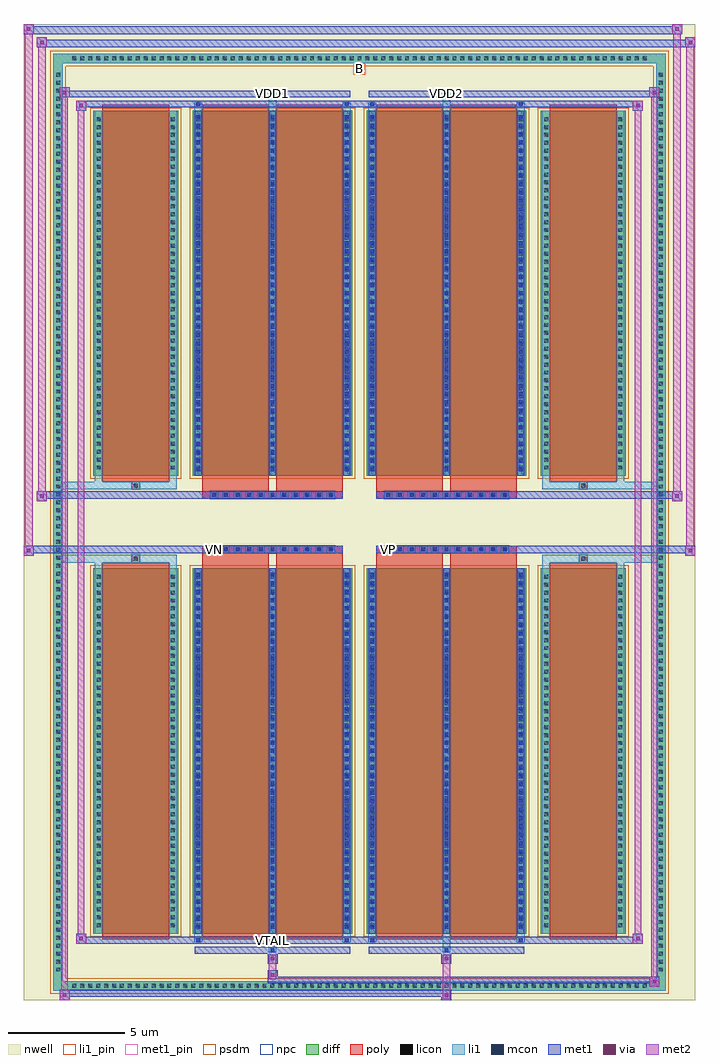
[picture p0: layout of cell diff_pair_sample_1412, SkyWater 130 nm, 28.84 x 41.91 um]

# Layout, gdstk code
import gdstk
lib = gdstk.Library(unit=1e-6, precision=5e-09)
def R(c, l, rs):  # rectangles x0, y0, x1, y1
    for r in rs: c.add(gdstk.rectangle(r[:2], r[2:], *l))
def A(c, l, x, y, w, h, nx, ny, dx, dy):  # array of equal rectangles
    R(c, l, [(x+i*dx, y+j*dy, x+i*dx+w, y+j*dy+h) for i in range(nx) for j in range(ny)])
def P(c, l, *ps):  # polygons
    for p in ps: c.add(gdstk.Polygon(p, *l))
nwell = (64, 20)
diff = (65, 20)
poly = (66, 20)
licon = (66, 44)
li1_pin = (67, 16)
li1 = (67, 20)
mcon = (67, 44)
met1_pin = (68, 16)
met1 = (68, 20)
via = (68, 44)
met2 = (69, 20)
psdm = (94, 20)
npc = (95, 20)

diff_pair_sample_1412 = lib.new_cell('diff_pair_sample_1412')
R(diff_pair_sample_1412, nwell, [(-14.42,-20.52,14.42,21.39), (-11.74,-18.71,-0.01,-0.805), (0.01,-18.71,11.74,-0.805), (-11.74,0.805,-0.01,18.71), (0.01,0.805,11.74,18.71)])
A(diff_pair_sample_1412, diff, -12.445, -20.12, 0.41, 0.41, 73, 2, 0.34, 39.83)
A(diff_pair_sample_1412, diff, -13.15, -19.415, 0.41, 0.41, 1, 114, 0, 0.34)
A(diff_pair_sample_1412, diff, 12.74, -19.415, 0.41, 0.41, 1, 114, 0, 0.34)
R(diff_pair_sample_1412, diff, [(-12.445,-20.12,12.445,-19.71), (-13.15,-19.415,-12.74,19.415), (12.74,-19.415,13.15,19.415), (-11.43,-17.665,-7.79,-1.985), (-7.15,-17.665,-0.32,-1.985), (0.32,-17.665,7.15,-1.985), (7.79,-17.665,11.43,-1.985), (-11.43,1.985,-7.79,17.665), (-7.15,1.985,-0.32,17.665), (0.32,1.985,7.15,17.665), (7.79,1.985,11.43,17.665), (-12.445,19.71,12.445,20.12)])
P(diff_pair_sample_1412, diff, [(13.15,20.12),(-13.15,20.12),(-13.15,-19.71),(-12.74,-19.71),(-12.74,19.71),(12.74,19.71),(12.74,-19.71),(-12.74,-19.71),(-13.15,-19.71),(-13.15,-20.12),(13.15,-20.12)])
A(diff_pair_sample_1412, poly, -6.4, -1.335, 0.33, 0.33, 11, 2, 0.5, 2.34)
A(diff_pair_sample_1412, poly, 1.07, -1.335, 0.33, 0.33, 11, 2, 0.5, 2.34)
R(diff_pair_sample_1412, poly, [(-11.04,-17.915,-8.18,-1.735), (-6.76,-17.915,-3.9,-1.735), (-3.57,-17.915,-0.71,-1.735), (0.71,-17.915,3.57,-1.735), (3.9,-17.915,6.76,-1.735), (8.18,-17.915,11.04,-1.735), (-9.775,-1.735,-9.445,-1.405), (-9.775,-1.735,-9.445,-1.405), (-6.76,-1.735,-3.9,-1.335), (-3.57,-1.735,-0.71,-1.335), (0.71,-1.735,3.57,-1.335), (3.9,-1.735,6.76,-1.335), (9.445,-1.735,9.775,-1.405), (9.445,-1.735,9.775,-1.405), (-6.76,-1.335,-0.71,-1.005), (0.71,-1.335,6.76,-1.005), (-6.76,1.005,-0.71,1.335), (0.71,1.005,6.76,1.335), (-6.76,1.335,-3.9,1.735), (-3.57,1.335,-0.71,1.735), (0.71,1.335,3.57,1.735), (3.9,1.335,6.76,1.735), (-9.775,1.405,-9.445,1.735), (-9.775,1.405,-9.445,1.735), (9.445,1.405,9.775,1.735), (9.445,1.405,9.775,1.735), (-11.04,1.735,-8.18,17.915), (-6.76,1.735,-3.9,17.915), (-3.57,1.735,-0.71,17.915), (0.71,1.735,3.57,17.915), (3.9,1.735,6.76,17.915), (8.18,1.735,11.04,17.915)])
A(diff_pair_sample_1412, licon, -12.325, -20, 0.17, 0.17, 73, 2, 0.34, 39.83)
A(diff_pair_sample_1412, licon, -13.03, -19.295, 0.17, 0.17, 1, 114, 0, 0.34)
A(diff_pair_sample_1412, licon, 12.86, -19.295, 0.17, 0.17, 1, 114, 0, 0.34)
A(diff_pair_sample_1412, licon, -11.29, -17.39, 0.17, 0.17, 1, 45, 0, 0.34)
A(diff_pair_sample_1412, licon, -8.1, -17.39, 0.17, 0.17, 1, 45, 0, 0.34)
A(diff_pair_sample_1412, licon, -7.01, -17.39, 0.17, 0.17, 3, 45, 3.19, 0.34)
A(diff_pair_sample_1412, licon, 0.46, -17.39, 0.17, 0.17, 3, 45, 3.19, 0.34)
A(diff_pair_sample_1412, licon, 7.93, -17.39, 0.17, 0.17, 1, 45, 0, 0.34)
A(diff_pair_sample_1412, licon, 11.12, -17.39, 0.17, 0.17, 1, 45, 0, 0.34)
A(diff_pair_sample_1412, licon, -6.32, -1.255, 0.17, 0.17, 11, 2, 0.5, 2.34)
A(diff_pair_sample_1412, licon, 1.15, -1.255, 0.17, 0.17, 11, 2, 0.5, 2.34)
A(diff_pair_sample_1412, licon, -11.29, 2.26, 0.17, 0.17, 1, 45, 0, 0.34)
A(diff_pair_sample_1412, licon, -8.1, 2.26, 0.17, 0.17, 1, 45, 0, 0.34)
A(diff_pair_sample_1412, licon, -7.01, 2.26, 0.17, 0.17, 3, 45, 3.19, 0.34)
A(diff_pair_sample_1412, licon, 0.46, 2.26, 0.17, 0.17, 3, 45, 3.19, 0.34)
A(diff_pair_sample_1412, licon, 7.93, 2.26, 0.17, 0.17, 1, 45, 0, 0.34)
A(diff_pair_sample_1412, licon, 11.12, 2.26, 0.17, 0.17, 1, 45, 0, 0.34)
R(diff_pair_sample_1412, licon, [(-9.695,-1.655,-9.525,-1.485), (9.525,-1.655,9.695,-1.485), (-9.695,1.485,-9.525,1.655), (9.525,1.485,9.695,1.655)])
R(diff_pair_sample_1412, li1_pin, [(-0.25,19.21,0.25,19.71)])
A(diff_pair_sample_1412, li1, -12.405, -20.08, 0.33, 0.33, 73, 2, 0.34, 39.83)
A(diff_pair_sample_1412, li1, -13.11, -19.375, 0.33, 0.33, 1, 114, 0, 0.34)
A(diff_pair_sample_1412, li1, 12.78, -19.375, 0.33, 0.33, 1, 114, 0, 0.34)
A(diff_pair_sample_1412, li1, -7.09, -17.665, 0.33, 15.68, 3, 2, 3.19, 19.65)
A(diff_pair_sample_1412, li1, 0.38, -17.665, 0.33, 15.68, 3, 2, 3.19, 19.65)
A(diff_pair_sample_1412, li1, -11.37, -17.47, 0.33, 0.33, 1, 45, 0, 0.34)
A(diff_pair_sample_1412, li1, -8.18, -17.47, 0.33, 0.33, 1, 45, 0, 0.34)
A(diff_pair_sample_1412, li1, -7.09, -17.47, 0.33, 0.33, 3, 45, 3.19, 0.34)
A(diff_pair_sample_1412, li1, -7.01, -17.47, 0.17, 0.17, 3, 43, 3.19, 0.36)
A(diff_pair_sample_1412, li1, -7.01, -17.47, 0.17, 15.29, 3, 2, 3.19, 19.65)
A(diff_pair_sample_1412, li1, 0.38, -17.47, 0.33, 0.33, 3, 45, 3.19, 0.34)
A(diff_pair_sample_1412, li1, 0.46, -17.47, 0.17, 0.17, 3, 43, 3.19, 0.36)
A(diff_pair_sample_1412, li1, 0.46, -17.47, 0.17, 15.29, 3, 2, 3.19, 19.65)
A(diff_pair_sample_1412, li1, 7.85, -17.47, 0.33, 0.33, 1, 45, 0, 0.34)
A(diff_pair_sample_1412, li1, 11.04, -17.47, 0.33, 0.33, 1, 45, 0, 0.34)
A(diff_pair_sample_1412, li1, -6.4, -1.335, 0.33, 0.33, 11, 2, 0.5, 2.34)
A(diff_pair_sample_1412, li1, 1.07, -1.335, 0.33, 0.33, 11, 2, 0.5, 2.34)
A(diff_pair_sample_1412, li1, -11.37, 2.18, 0.33, 0.33, 1, 45, 0, 0.34)
A(diff_pair_sample_1412, li1, -8.18, 2.18, 0.33, 0.33, 1, 45, 0, 0.34)
A(diff_pair_sample_1412, li1, -7.09, 2.18, 0.33, 0.33, 3, 45, 3.19, 0.34)
A(diff_pair_sample_1412, li1, -7.01, 2.18, 0.17, 0.17, 3, 43, 3.19, 0.36)
A(diff_pair_sample_1412, li1, 0.38, 2.18, 0.33, 0.33, 3, 45, 3.19, 0.34)
A(diff_pair_sample_1412, li1, 0.46, 2.18, 0.17, 0.17, 3, 43, 3.19, 0.36)
A(diff_pair_sample_1412, li1, 7.85, 2.18, 0.33, 0.33, 1, 45, 0, 0.34)
A(diff_pair_sample_1412, li1, 11.04, 2.18, 0.33, 0.33, 1, 45, 0, 0.34)
R(diff_pair_sample_1412, li1, [(-13.15,-20.12,-12.74,-19.71), (-13.15,-20.12,-12.74,-19.71), (-12.74,-20.12,12.74,-19.71), (12.74,-20.12,13.15,-19.71), (12.74,-20.12,13.15,-19.71), (-13.15,-19.71,-12.74,19.71), (12.74,-19.71,13.15,19.71), (-3.9,-18.47,-3.57,-17.665), (-3.82,-18.47,-3.65,-18.3), (3.57,-18.47,3.9,-17.665), (3.65,-18.47,3.82,-18.3), (-7.09,-18.04,-6.76,-17.665), (-7.01,-18.04,-6.84,-17.87), (-0.71,-18.04,-0.38,-17.665), (-0.63,-18.04,-0.46,-17.87), (0.38,-18.04,0.71,-17.665), (0.46,-18.04,0.63,-17.87), (6.76,-18.04,7.09,-17.665), (6.84,-18.04,7.01,-17.87), (-11.37,-17.665,-11.04,-1.985), (-8.18,-17.665,-7.85,-1.985), (7.85,-17.665,8.18,-1.985), (11.04,-17.665,11.37,-1.985), (-11.37,-1.985,-11.04,-1.405), (-8.18,-1.985,-7.85,-1.405), (7.85,-1.985,8.18,-1.405), (11.04,-1.985,11.37,-1.405), (-13.15,-1.735,-9.775,-1.405), (-11.37,-1.735,-9.775,-1.405), (-9.775,-1.735,-9.445,-1.405), (-9.445,-1.735,-7.85,-1.405), (7.85,-1.735,9.445,-1.405), (9.445,-1.735,9.775,-1.405), (9.445,-1.735,13.15,-1.405), (9.775,-1.735,11.37,-1.405), (-13.15,1.405,-9.775,1.735), (-11.37,1.405,-9.775,1.735), (-11.37,1.405,-11.04,1.985), (-9.775,1.405,-9.445,1.735), (-9.445,1.405,-7.85,1.735), (-8.18,1.405,-7.85,1.985), (7.85,1.405,9.445,1.735), (7.85,1.405,8.18,1.985), (9.445,1.405,9.775,1.735), (9.445,1.405,13.15,1.735), (9.775,1.405,11.37,1.735), (11.04,1.405,11.37,1.985), (-11.37,1.985,-11.04,17.665), (-8.18,1.985,-7.85,17.665), (7.85,1.985,8.18,17.665), (11.04,1.985,11.37,17.665), (-7.09,17.665,-6.76,18.04), (-3.9,17.665,-3.57,18.47), (-0.71,17.665,-0.38,18.04), (0.38,17.665,0.71,18.04), (3.57,17.665,3.9,18.47), (6.76,17.665,7.09,18.04), (-7.01,17.87,-6.84,18.04), (-0.63,17.87,-0.46,18.04), (0.46,17.87,0.63,18.04), (6.84,17.87,7.01,18.04), (-3.82,18.3,-3.65,18.47), (3.65,18.3,3.82,18.47), (-13.15,19.71,-12.74,20.12), (-13.15,19.71,-12.74,20.12), (-12.74,19.71,12.74,20.12), (12.74,19.71,13.15,20.12), (12.74,19.71,13.15,20.12)])
A(diff_pair_sample_1412, mcon, -7.01, -17.47, 0.17, 0.17, 3, 43, 3.19, 0.36)
A(diff_pair_sample_1412, mcon, 0.46, -17.47, 0.17, 0.17, 3, 43, 3.19, 0.36)
A(diff_pair_sample_1412, mcon, -6.32, -1.255, 0.17, 0.17, 11, 2, 0.5, 2.34)
A(diff_pair_sample_1412, mcon, 1.15, -1.255, 0.17, 0.17, 11, 2, 0.5, 2.34)
A(diff_pair_sample_1412, mcon, -7.01, 2.18, 0.17, 0.17, 3, 43, 3.19, 0.36)
A(diff_pair_sample_1412, mcon, 0.46, 2.18, 0.17, 0.17, 3, 43, 3.19, 0.36)
R(diff_pair_sample_1412, mcon, [(-3.82,-18.47,-3.65,-18.3), (3.65,-18.47,3.82,-18.3), (-7.01,-18.04,-6.84,-17.87), (-0.63,-18.04,-0.46,-17.87), (0.46,-18.04,0.63,-17.87), (6.84,-18.04,7.01,-17.87), (-7.01,17.87,-6.84,18.04), (-0.63,17.87,-0.46,18.04), (0.46,17.87,0.63,18.04), (6.84,17.87,7.01,18.04), (-3.82,18.3,-3.65,18.47), (3.65,18.3,3.82,18.47)])
R(diff_pair_sample_1412, met1_pin, [(-3.87,-18.08,-3.6,-17.81), (-6.37,-1.295,-6.1,-1.025), (1.1,-1.295,1.37,-1.025), (-3.87,18.26,-3.6,18.53), (3.6,18.26,3.87,18.53)])
A(diff_pair_sample_1412, met1, -7.07, -17.665, 0.29, 15.68, 3, 2, 3.19, 19.65)
A(diff_pair_sample_1412, met1, 0.4, -17.665, 0.29, 15.68, 3, 2, 3.19, 19.65)
A(diff_pair_sample_1412, met1, -7.07, -17.53, 0.29, 0.29, 3, 43, 3.19, 0.36)
A(diff_pair_sample_1412, met1, 0.4, -17.53, 0.29, 0.29, 3, 43, 3.19, 0.36)
A(diff_pair_sample_1412, met1, -6.38, -1.315, 0.29, 0.29, 11, 2, 0.5, 2.34)
A(diff_pair_sample_1412, met1, 1.09, -1.315, 0.29, 0.29, 11, 2, 0.5, 2.34)
A(diff_pair_sample_1412, met1, -7.07, 2.12, 0.29, 0.29, 3, 43, 3.19, 0.36)
A(diff_pair_sample_1412, met1, 0.4, 2.12, 0.29, 0.29, 3, 43, 3.19, 0.36)
R(diff_pair_sample_1412, met1, [(-12.88,-20.52,-12.45,-20.09), (3.52,-20.52,3.95,-20.09), (-12.88,-20.38,3.95,-20.09), (12.45,-19.95,12.88,-19.52), (-3.95,-19.81,12.88,-19.52), (-3.95,-19.67,-3.52,-19.24), (-3.95,-18.96,-3.52,-18.53), (3.52,-18.96,3.95,-18.53), (-7.07,-18.53,-0.4,-18.24), (-3.88,-18.53,-3.59,-18.24), (0.4,-18.53,7.07,-18.24), (3.59,-18.53,3.88,-18.24), (-12.17,-18.1,-11.74,-17.67), (-12.17,-18.1,-7.07,-17.81), (-7.07,-18.1,-6.78,-17.81), (-7.07,-18.1,-0.4,-17.81), (-0.69,-18.1,-0.4,-17.81), (-0.4,-18.1,0.4,-17.81), (0.4,-18.1,0.69,-17.81), (0.4,-18.1,7.07,-17.81), (6.78,-18.1,7.07,-17.81), (7.07,-18.1,12.17,-17.81), (11.74,-18.1,12.17,-17.67), (-14.42,-1.435,-13.99,-1.005), (13.99,-1.435,14.42,-1.005), (-14.42,-1.335,-0.71,-1.005), (-6.76,-1.335,-0.71,-1.005), (0.71,-1.335,6.76,-1.005), (0.71,-1.335,14.42,-1.005), (-13.85,0.905,-13.42,1.335), (13.42,0.905,13.85,1.335), (-13.85,1.005,-6.76,1.335), (-6.76,1.005,-0.71,1.335), (0.71,1.005,6.76,1.335), (6.76,1.005,13.85,1.335), (-12.17,17.67,-11.74,18.1), (11.74,17.67,12.17,18.1), (-12.17,17.81,-7.07,18.1), (-7.07,17.81,-6.78,18.1), (-7.07,17.81,-0.4,18.1), (-0.69,17.81,-0.4,18.1), (-0.4,17.81,0.4,18.1), (0.4,17.81,0.69,18.1), (0.4,17.81,7.07,18.1), (6.78,17.81,7.07,18.1), (7.07,17.81,12.17,18.1), (-12.88,18.24,-12.45,18.67), (-12.88,18.24,-7.07,18.53), (-7.07,18.24,-0.4,18.53), (-3.88,18.24,-3.59,18.53), (0.4,18.24,7.07,18.53), (3.59,18.24,3.88,18.53), (7.07,18.24,12.88,18.53), (12.45,18.24,12.88,18.67), (-13.85,20.39,-13.42,20.82), (-13.85,20.39,-11.74,20.72), (-11.74,20.39,11.74,20.72), (11.74,20.39,14.42,20.72), (13.99,20.39,14.42,20.82), (-14.42,20.96,-13.99,21.39), (-14.42,20.96,-11.74,21.29), (-11.74,20.96,11.74,21.29), (11.74,20.96,13.85,21.29), (13.42,20.96,13.85,21.39)])
R(diff_pair_sample_1412, via, [(-12.74,-20.38,-12.59,-20.23), (3.66,-20.38,3.81,-20.23), (12.59,-19.81,12.74,-19.66), (-3.81,-19.53,-3.66,-19.38), (-3.81,-18.82,-3.66,-18.67), (3.66,-18.82,3.81,-18.67), (-12.03,-17.96,-11.88,-17.81), (11.88,-17.96,12.03,-17.81), (-14.28,-1.295,-14.13,-1.145), (14.13,-1.295,14.28,-1.145), (-13.71,1.045,-13.56,1.195), (13.56,1.045,13.71,1.195), (-12.03,17.81,-11.88,17.96), (11.88,17.81,12.03,17.96), (-12.74,18.38,-12.59,18.53), (12.59,18.38,12.74,18.53), (-13.71,20.53,-13.56,20.68), (14.13,20.53,14.28,20.68), (-14.28,21.1,-14.13,21.25), (13.56,21.1,13.71,21.25)])
R(diff_pair_sample_1412, met2, [(-12.88,-20.52,-12.45,-20.09), (-12.81,-20.52,-12.52,18.67), (-12.52,-20.52,-12.45,-20.09), (-12.83,-20.47,-12.5,-20.14), (3.57,-20.47,3.9,-20.14), (3.57,-20.14,3.9,-18.91), (12.45,-19.95,12.88,-19.52), (12.52,-19.95,12.81,18.67), (12.81,-19.95,12.88,-19.52), (12.5,-19.9,12.83,-19.57), (-3.9,-19.62,-3.57,-19.29), (-3.9,-19.29,-3.57,-18.91), (-3.9,-18.91,-3.57,-18.58), (3.57,-18.91,3.9,-18.58), (-12.17,-18.1,-11.74,-17.67), (-12.1,-18.1,-11.81,18.1), (-11.81,-18.1,-11.74,-17.67), (11.74,-18.1,12.17,-17.67), (11.81,-18.1,12.1,18.1), (12.1,-18.1,12.17,-17.67), (-12.12,-18.05,-11.79,-17.72), (11.79,-18.05,12.12,-17.72), (-14.42,-1.435,-13.99,-1.005), (-14.37,-1.435,-14.04,21.39), (-14.04,-1.435,-13.99,-1.005), (13.99,-1.435,14.42,-1.005), (14.04,-1.435,14.37,20.82), (14.37,-1.435,14.42,-1.005), (-14.37,-1.385,-14.04,-1.055), (14.04,-1.385,14.37,-1.055), (-13.85,0.905,-13.42,1.335), (-13.8,0.905,-13.47,20.82), (-13.47,0.905,-13.42,1.335), (13.42,0.905,13.85,1.335), (13.47,0.905,13.8,21.39), (13.8,0.905,13.85,1.335), (-13.8,0.955,-13.47,1.285), (13.47,0.955,13.8,1.285), (-12.17,17.67,-11.74,18.1), (-11.81,17.67,-11.74,18.1), (11.74,17.67,12.17,18.1), (12.1,17.67,12.17,18.1), (-12.12,17.72,-11.79,18.05), (11.79,17.72,12.12,18.05), (-12.88,18.24,-12.45,18.67), (-12.52,18.24,-12.45,18.67), (12.45,18.24,12.88,18.67), (12.81,18.24,12.88,18.67), (-12.83,18.29,-12.5,18.62), (12.5,18.29,12.83,18.62), (-13.85,20.39,-13.42,20.82), (-13.47,20.39,-13.42,20.82), (13.99,20.39,14.42,20.82), (14.37,20.39,14.42,20.82), (-13.8,20.44,-13.47,20.77), (14.04,20.44,14.37,20.77), (-14.42,20.96,-13.99,21.39), (-14.04,20.96,-13.99,21.39), (13.42,20.96,13.85,21.39), (13.8,20.96,13.85,21.39), (-14.37,21.01,-14.04,21.34), (13.47,21.01,13.8,21.34)])
R(diff_pair_sample_1412, psdm, [(-11.56,-17.795,-7.66,-1.855), (-7.28,-17.795,-0.19,-1.855), (0.19,-17.795,7.28,-1.855), (7.66,-17.795,11.56,-1.855), (-11.56,1.855,-7.66,17.795), (-7.28,1.855,-0.19,17.795), (0.19,1.855,7.28,17.795), (7.66,1.855,11.56,17.795)])
P(diff_pair_sample_1412, psdm, [(13.28,20.25),(-13.28,20.25),(-13.28,-19.58),(-12.61,-19.58),(-12.61,19.58),(12.61,19.58),(12.61,-19.58),(-12.61,-19.58),(-13.28,-19.58),(-13.28,-20.25),(13.28,-20.25)])
A(diff_pair_sample_1412, npc, -6.42, -1.355, 0.37, 0.37, 11, 2, 0.5, 2.34)
A(diff_pair_sample_1412, npc, 1.05, -1.355, 0.37, 0.37, 11, 2, 0.5, 2.34)
R(diff_pair_sample_1412, npc, [(-9.795,-1.755,-9.425,-1.385), (9.425,-1.755,9.795,-1.385), (-6.42,-1.355,-5.55,-0.985), (-6.42,-1.355,-5.55,-0.985), (-5.92,-1.355,-5.05,-0.985), (-5.92,-1.355,-5.05,-0.985), (-5.42,-1.355,-4.55,-0.985), (-5.42,-1.355,-4.55,-0.985), (-4.92,-1.355,-4.05,-0.985), (-4.92,-1.355,-4.05,-0.985), (-4.42,-1.355,-3.55,-0.985), (-4.42,-1.355,-3.55,-0.985), (-3.92,-1.355,-3.05,-0.985), (-3.92,-1.355,-3.05,-0.985), (-3.42,-1.355,-2.55,-0.985), (-3.42,-1.355,-2.55,-0.985), (-2.92,-1.355,-2.05,-0.985), (-2.92,-1.355,-2.05,-0.985), (-2.42,-1.355,-1.55,-0.985), (-2.42,-1.355,-1.55,-0.985), (-1.92,-1.355,-1.05,-0.985), (-1.92,-1.355,-1.05,-0.985), (1.05,-1.355,1.92,-0.985), (1.05,-1.355,1.92,-0.985), (1.55,-1.355,2.42,-0.985), (1.55,-1.355,2.42,-0.985), (2.05,-1.355,2.92,-0.985), (2.05,-1.355,2.92,-0.985), (2.55,-1.355,3.42,-0.985), (2.55,-1.355,3.42,-0.985), (3.05,-1.355,3.92,-0.985), (3.05,-1.355,3.92,-0.985), (3.55,-1.355,4.42,-0.985), (3.55,-1.355,4.42,-0.985), (4.05,-1.355,4.92,-0.985), (4.05,-1.355,4.92,-0.985), (4.55,-1.355,5.42,-0.985), (4.55,-1.355,5.42,-0.985), (5.05,-1.355,5.92,-0.985), (5.05,-1.355,5.92,-0.985), (5.55,-1.355,6.42,-0.985), (5.55,-1.355,6.42,-0.985), (-6.42,0.985,-5.55,1.355), (-6.42,0.985,-5.55,1.355), (-5.92,0.985,-5.05,1.355), (-5.92,0.985,-5.05,1.355), (-5.42,0.985,-4.55,1.355), (-5.42,0.985,-4.55,1.355), (-4.92,0.985,-4.05,1.355), (-4.92,0.985,-4.05,1.355), (-4.42,0.985,-3.55,1.355), (-4.42,0.985,-3.55,1.355), (-3.92,0.985,-3.05,1.355), (-3.92,0.985,-3.05,1.355), (-3.42,0.985,-2.55,1.355), (-3.42,0.985,-2.55,1.355), (-2.92,0.985,-2.05,1.355), (-2.92,0.985,-2.05,1.355), (-2.42,0.985,-1.55,1.355), (-2.42,0.985,-1.55,1.355), (-1.92,0.985,-1.05,1.355), (-1.92,0.985,-1.05,1.355), (1.05,0.985,1.92,1.355), (1.05,0.985,1.92,1.355), (1.55,0.985,2.42,1.355), (1.55,0.985,2.42,1.355), (2.05,0.985,2.92,1.355), (2.05,0.985,2.92,1.355), (2.55,0.985,3.42,1.355), (2.55,0.985,3.42,1.355), (3.05,0.985,3.92,1.355), (3.05,0.985,3.92,1.355), (3.55,0.985,4.42,1.355), (3.55,0.985,4.42,1.355), (4.05,0.985,4.92,1.355), (4.05,0.985,4.92,1.355), (4.55,0.985,5.42,1.355), (4.55,0.985,5.42,1.355), (5.05,0.985,5.92,1.355), (5.05,0.985,5.92,1.355), (5.55,0.985,6.42,1.355), (5.55,0.985,6.42,1.355), (-9.795,1.385,-9.425,1.755), (9.425,1.385,9.795,1.755)])
diff_pair_sample_1412.add(gdstk.Label('VTAIL', (-3.735,-17.945), layer=68, texttype=5))
diff_pair_sample_1412.add(gdstk.Label('VN', (-6.235,-1.16), layer=68, texttype=5))
diff_pair_sample_1412.add(gdstk.Label('VP', (1.235,-1.16), layer=68, texttype=5))
diff_pair_sample_1412.add(gdstk.Label('B', (0,19.46), layer=67, texttype=5))
diff_pair_sample_1412.add(gdstk.Label('VDD2', (3.735,18.395), layer=68, texttype=5))
diff_pair_sample_1412.add(gdstk.Label('VDD1', (-3.735,18.395), layer=68, texttype=5))

lib.write_gds('diff_pair_sample_1412.gds')
